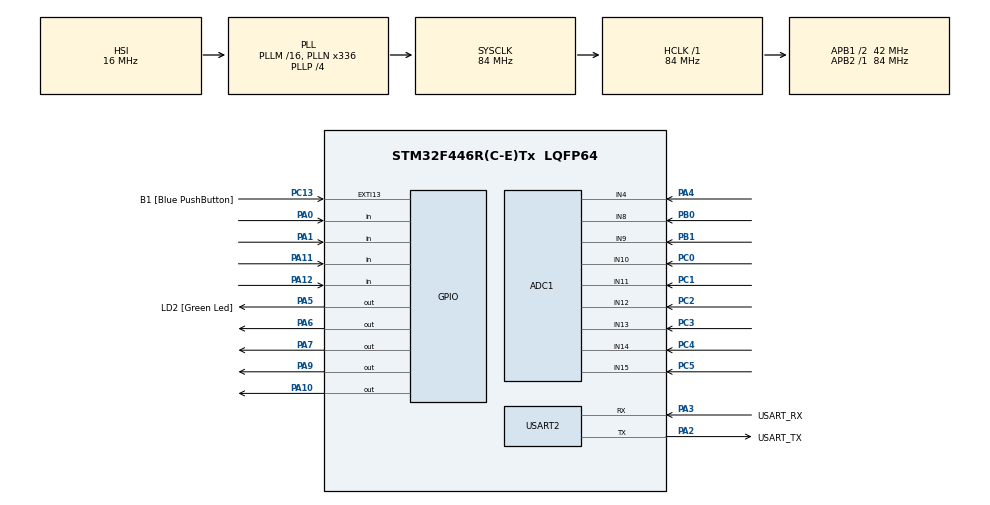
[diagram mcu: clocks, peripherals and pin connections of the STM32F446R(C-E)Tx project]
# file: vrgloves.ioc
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ADC1.Channel-0\#ChannelRegularConversion=ADC_CHANNEL_4
ADC1.Channel-1\#ChannelRegularConversion=ADC_CHANNEL_8
ADC1.Channel-2\#ChannelRegularConversion=ADC_CHANNEL_9
ADC1.Channel-3\#ChannelRegularConversion=ADC_CHANNEL_10
ADC1.Channel-4\#ChannelRegularConversion=ADC_CHANNEL_11
ADC1.Channel-5\#ChannelRegularConversion=ADC_CHANNEL_12
ADC1.Channel-6\#ChannelRegularConversion=ADC_CHANNEL_13
ADC1.Channel-7\#ChannelRegularConversion=ADC_CHANNEL_14
ADC1.Channel-8\#ChannelRegularConversion=ADC_CHANNEL_15
ADC1.ContinuousConvMode=DISABLE
ADC1.NbrOfConversion=9
ADC1.NbrOfConversionFlag=1
ADC1.Rank-0\#ChannelRegularConversion=1
ADC1.Rank-1\#ChannelRegularConversion=2
ADC1.Rank-2\#ChannelRegularConversion=3
ADC1.Rank-3\#ChannelRegularConversion=4
ADC1.Rank-4\#ChannelRegularConversion=5
ADC1.Rank-5\#ChannelRegularConversion=6
ADC1.Rank-6\#ChannelRegularConversion=7
ADC1.Rank-7\#ChannelRegularConversion=8
ADC1.Rank-8\#ChannelRegularConversion=9
ADC1.SamplingTime-0\#ChannelRegularConversion=ADC_SAMPLETIME_480CYCLES
ADC1.SamplingTime-1\#ChannelRegularConversion=ADC_SAMPLETIME_480CYCLES
ADC1.SamplingTime-2\#ChannelRegularConversion=ADC_SAMPLETIME_480CYCLES
ADC1.SamplingTime-3\#ChannelRegularConversion=ADC_SAMPLETIME_480CYCLES
ADC1.SamplingTime-4\#ChannelRegularConversion=ADC_SAMPLETIME_480CYCLES
ADC1.SamplingTime-5\#ChannelRegularConversion=ADC_SAMPLETIME_480CYCLES
ADC1.SamplingTime-6\#ChannelRegularConversion=ADC_SAMPLETIME_480CYCLES
ADC1.SamplingTime-7\#ChannelRegularConversion=ADC_SAMPLETIME_480CYCLES
ADC1.SamplingTime-8\#ChannelRegularConversion=ADC_SAMPLETIME_480CYCLES
ADC1.ScanConvMode=ENABLE
ADC1.master=1
Dma.ADC1.0.Direction=DMA_PERIPH_TO_MEMORY
Dma.ADC1.0.FIFOMode=DMA_FIFOMODE_DISABLE
Dma.ADC1.0.Instance=DMA2_Stream0
Dma.ADC1.0.MemDataAlignment=DMA_MDATAALIGN_HALFWORD
Dma.ADC1.0.MemInc=DMA_MINC_ENABLE
Dma.ADC1.0.Mode=DMA_CIRCULAR
Dma.ADC1.0.PeriphDataAlignment=DMA_PDATAALIGN_HALFWORD
Dma.ADC1.0.PeriphInc=DMA_PINC_DISABLE
Dma.ADC1.0.Priority=DMA_PRIORITY_LOW
Dma.Request0=ADC1
Mcu.Family=STM32F4
Mcu.Name=STM32F446R(C-E)Tx
Mcu.Package=LQFP64
NVIC.ADC_IRQn=true\:0\:0\:false\:false\:true\:true\:true\:true
NVIC.DMA2_Stream0_IRQn=true\:0\:0\:false\:false\:true\:false\:true\:true
NVIC.PriorityGroup=NVIC_PRIORITYGROUP_0
NVIC.TIM6_DAC_IRQn=true\:0\:0\:false\:false\:true\:true\:true\:true
NVIC.USART2_IRQn=true\:0\:0\:false\:false\:true\:true\:true\:true
PA0-WKUP.Signal=GPIO_Input
PA1.Signal=GPIO_Input
PA10.Signal=GPIO_Output
PA11.Signal=GPIO_Input
PA12.Signal=GPIO_Input
PA13.GPIO_Label=TMS
PA13.Mode=Serial_Wire
PA13.Signal=SYS_JTMS-SWDIO
PA14.GPIO_Label=TCK
PA14.Mode=Serial_Wire
PA14.Signal=SYS_JTCK-SWCLK
PA2.GPIO_Label=USART_TX
PA2.Mode=Asynchronous
PA2.Signal=USART2_TX
PA3.GPIO_Label=USART_RX
PA3.Mode=Asynchronous
PA3.Signal=USART2_RX
PA4.Signal=ADCx_IN4
PA5.GPIO_Label=LD2 [Green Led]
PA5.Signal=GPIO_Output
PA6.Signal=GPIO_Output
PA7.Signal=GPIO_Output
PA9.Signal=GPIO_Output
PB0.Signal=ADCx_IN8
PB1.Signal=ADCx_IN9
PB3.GPIO_Label=SWO
PB3.Signal=SYS_JTDO-SWO
PC0.Signal=ADCx_IN10
PC1.Signal=ADCx_IN11
PC13.GPIO_Label=B1 [Blue PushButton]
PC13.GPIO_ModeDefaultEXTI=GPIO_MODE_IT_FALLING
PC13.Signal=GPXTI13
PC14-OSC32_IN.Mode=LSE-External-Oscillator
PC14-OSC32_IN.Signal=RCC_OSC32_IN
PC15-OSC32_OUT.Mode=LSE-External-Oscillator
PC15-OSC32_OUT.Signal=RCC_OSC32_OUT
PC2.Signal=ADCx_IN12
PC3.Signal=ADCx_IN13
PC4.Signal=ADCx_IN14
PC5.Signal=ADCx_IN15
PH0-OSC_IN.Mode=HSE-External-Oscillator
PH0-OSC_IN.Signal=RCC_OSC_IN
PH1-OSC_OUT.Mode=HSE-External-Oscillator
PH1-OSC_OUT.Signal=RCC_OSC_OUT
ProjectManager.HeapSize=0x200
ProjectManager.StackSize=0x400
ProjectManager.TargetToolchain=STM32CubeIDE
RCC.48MHZClocksFreq_Value=84000000
RCC.AHBFreq_Value=84000000
RCC.APB1CLKDivider=RCC_HCLK_DIV2
RCC.APB1Freq_Value=42000000
RCC.APB1TimFreq_Value=84000000
RCC.APB2Freq_Value=84000000
RCC.APB2TimFreq_Value=84000000
RCC.CortexFreq_Value=84000000
RCC.FLatency-AdvancedSettings=FLASH_LATENCY_2
RCC.HCLKFreq_Value=84000000
RCC.HSE_VALUE=8000000
RCC.HSI_VALUE=16000000
RCC.PLLN=336
RCC.PLLP=RCC_PLLP_DIV4
RCC.SYSCLKFreq_VALUE=84000000
RCC.SYSCLKSource=RCC_SYSCLKSOURCE_PLLCLK
RCC.USBFreq_Value=168000000
RCC.VCOOutputFreq_Value=336000000
SH.ADCx_IN10.0=ADC1_IN10,IN10
SH.ADCx_IN11.0=ADC1_IN11,IN11
SH.ADCx_IN12.0=ADC1_IN12,IN12
SH.ADCx_IN13.0=ADC1_IN13,IN13
SH.ADCx_IN14.0=ADC1_IN14,IN14
SH.ADCx_IN15.0=ADC1_IN15,IN15
SH.ADCx_IN4.0=ADC1_IN4,IN4
SH.ADCx_IN8.0=ADC1_IN8,IN8
SH.ADCx_IN9.0=ADC1_IN9,IN9
TIM6.AutoReloadPreload=TIM_AUTORELOAD_PRELOAD_ENABLE
USART2.VirtualMode=VM_ASYNC
VP_TIM6_VS_ClockSourceINT.Mode=Enable_Timer
board=NUCLEO-F446RE

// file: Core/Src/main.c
/* USER CODE BEGIN Header */
/**
  ******************************************************************************
  * @file           : main.c
  * @brief          : Main program body
  ******************************************************************************
  * @attention
  *
  * Copyright (c) 2023 STMicroelectronics.
  * All rights reserved.
  *
  * This software is licensed under terms that can be found in the LICENSE file
  * in the root directory of this software component.
  * If no LICENSE file comes with this software, it is provided AS-IS.
  *
  ******************************************************************************
  */
/* USER CODE END Header */
#include "main.h"

ADC_HandleTypeDef hadc1;
DMA_HandleTypeDef hdma_adc1;

TIM_HandleTypeDef htim6;

UART_HandleTypeDef huart2;

/* USER CODE BEGIN PV */
uint32_t HAL_GetTick(void)
{
  return uwTick;
}
uint32_t millis;
/* USER CODE END PV */

void SystemClock_Config(void);
static void MX_GPIO_Init(void);
static void MX_DMA_Init(void);
static void MX_USART2_UART_Init(void);
static void MX_TIM6_Init(void);
static void MX_ADC1_Init(void);
/* USER CODE BEGIN PFP */
void dis(int val){
  HAL_GPIO_WritePin(GPIOA, GPIO_PIN_9, 2&val);
  HAL_GPIO_WritePin(GPIOA, GPIO_PIN_10, 1&val);
  HAL_GPIO_WritePin(GPIOA, GPIO_PIN_7, 4&val);
  HAL_GPIO_WritePin(GPIOA, GPIO_PIN_6, 8&val);
 }
/* USER CODE END PFP */

/* USER CODE BEGIN 0 */

 // mpu6050 function for getting the accelerometer data
void  mpu6050(uint8_t *o){

	uint8_t g[2]= {0x6b,0};  // address of mpu6050 power management to wake from sleep mode
	uint8_t l[2]= {0x1c,0};  // address for acc sensor config
	uint8_t p=0x3b;          // address for acc sensor data

	// Getting accelerometer data from the mpu6050 *refer i2c.h file for i2c function
	  init3(0x68);
      write(0x68, &l, 2);
      write(0x68, &g, 2);
      write(0x68, &p, 1);
	  read(0x68,o,6);
}

// mpu6050 function for getting gyro data
void mpu6050gyro(uint8_t *o){
	uint8_t g[2]= {0x6b,0};
	uint8_t l[2]= {0x1b,0}; // address for gyro config
	uint8_t p=0x43;   // address for gyro data

	// Getting gyro data from the mpu6050
		  init3(0x68);
		  write(0x68, &l, 2);
		  write(0x68, &g, 2);
	      write(0x68, &p, 1);
          read(0x68,o,6);
}

// Global variables for acc and gyro data
float  pitch;
float roll;
float yaw;
float de1;
float de;
float de2;
float gx;
float gy ;
float gz;

// Converting acc data to degrees
void acc(){
	int16_t  x,y,z; // 16 bit variables note : always use signed variables
	uint8_t j[6];
	mpu6050(&j);  // Getting data from mpu6050

	// Setting the sensitivity of x,y,z values
    x= (int16_t) (j[0]<<8|j[1]);
    gx = x/16384.0;

    y= j[2]<<8|j[3];
    gy = y/16384.0;

    z=j[4]<<8|j[5];
    gz = z/16384.0;

    // converting acc to radian
    pitch = atan2(gy,sqrt((gx*gx)+(gz*gz)));
    roll = atan2 (gx,gz);
    yaw = atan2(gx,gy);

    // converting radian to degree
    de = roll*180/3.14;
    de1  = (pitch-0.0010)*180/3.14;
    de2  = (yaw)*180/3.14;

}

float  gyrox,gyroy,gyroz; // gyro variables

void gyro(){
	  uint8_t s[6];
	  mpu6050gyro(&s);

	  // getting gyro values
	  int16_t gyrox1  = (int16_t) (s[0]<<8| s[1]);
		       gyrox = (gyrox1/131.0);
	  int16_t gyroy1  = (int16_t) (s[2]<<8| s[3]);
		       gyroy = gyroy1/131.0;
	  int16_t gyroz1  = (int16_t) (s[4]<<8| s[5]);
		       gyroz = gyroz1/131.0;
}

float dout [2]; // Output of Kalman filters

                     //       Kalman Filter         //

void kalman(float kalman ,float uncertanity, float angleinput,float measurement ,float elapsed){
	 kalman = kalman +((elapsed/1000)*angleinput);
	 uncertanity = uncertanity + ((elapsed/1000)*((elapsed/1000)*16));
	 float kalmangain = uncertanity/(uncertanity+(9));
	 kalman = kalman + kalmangain*(measurement - kalman);
	 uncertanity = (1-kalmangain)*uncertanity;
	 dout[0] = kalman;
	 dout[1] = uncertanity;
}

char p[1];
/* USER CODE END 0 */

int main(void)
{
  /* USER CODE BEGIN 1 */
	float gyroxangle,gyroyangle,gyrozangle;
	   HAL_Init();
	   SystemClock_Config();
	   MX_GPIO_Init();
	   MX_USART2_UART_Init();
	   MX_TIM6_Init();
//dis(0);

for(int i=0;i<2000;i++){
	gyro();
	gyroxangle = gyroxangle+gyrox;
	gyroyangle = gyroyangle+gyroy;
	gyrozangle = gyrozangle+gyroz;

}

gyroxangle = gyroxangle/2000;
gyroyangle = gyroyangle/2000;
gyrozangle = gyrozangle/2000;

char q[90];
char q1[90];
char q2[90];
char s[6];
int degree1;
int avg;
float k=0.8;
float kck2;

  /* USER CODE END 1 */

  /* MCU Configuration--------------------------------------------------------*/

  /* Reset of all peripherals, Initializes the Flash interface and the Systick. */
  HAL_Init();

  /* USER CODE BEGIN Init */
//int32_t n = HAL_GetTick();
  /* USER CODE END Init */

  /* Configure the system clock */
  SystemClock_Config();

  /* USER CODE BEGIN SysInit */
 uint32_t kck = HAL_GetTickFreq();
  /* USER CODE END SysInit */

  /* Initialize all configured peripherals */
  MX_GPIO_Init();
  MX_DMA_Init();
  MX_USART2_UART_Init();
  MX_TIM6_Init();
  MX_ADC1_Init();
  /* USER CODE BEGIN 2 */
  HAL_InitTick(10);

 /* USER CODE BEGIN Init */
float gx ;
float kalpitch  = 0;
float kalpitch1 = 0;
float kalpitch2 = 0;
float kalroll =0;
float kalyaw = 0;
int  uncertain = 4;
int uncertainroll = 4;
int uncertainyaw = 0;
  /* USER CODE END 2 */

  /* Infinite loop */
  /* USER CODE BEGIN WHILE */
  uint32_t cmp=0;
  float yaw;
  float yawpos;
  float yawneg;
  uint16_t adc[9];
  uint16_t adc1[9];

  // taking 2000 sample  values
  float h[9];

  int high[9];

  float degeer[9];

  for (int i=0;i<2000;i++){

  HAL_ADC_Start_DMA(&hadc1,&adc1, 9);

   high[0] = adc1[0] + high[0];
   high[1] = adc1[1] + high[1];
   high[2] = adc1[2] + high[2];
   high[3] = adc1[3] + high[3];
   high[4] = adc1[4] + high[4];
   high[5] = adc1[5] + high[5];
   high[6] = adc1[6] + high[6];
   high[7] = adc1[7] + high[7];
   high[8] = adc1[8] + high[8];

  h[0] = (adc1[0]/90)+h[0];
  h[1] = (adc1[1]/90)+h[1];
  h[2] = (adc1[2]/90)+h[2];
  h[3] = (adc1[3]/90)+h[3];
  h[4] = (adc1[4]/90)+h[4];
  h[5] = (adc1[5]/90)+h[5];
  h[6] = (adc1[6]/90)+h[6];
  h[7] = (adc1[7]/90)+h[7];
  h[8] = (adc1[8]/90)+h[8];

  }

for(int i=0;i<9;i++){
	high[i] = high[i]/2000;
	h[i] = h[i]/2000;
}

  while (1)
  {

uint32_t n=0;
n = HAL_GetTick();
float elapsed = n- cmp;

float mul[3];
float mulgyro[3];
int prev;
	         for(int i=0;i<1;i++){

if(i==0){

	          	     	     acc();
	          	  	       	 mul[0] = de;
                             mul[1] = de1;
                             mul[2] = de2;

                             gyro();
	          	   	         mulgyro[0] = gyrox-gyroxangle;
	                 	     mulgyro[1] = gyroy-gyroyangle;
	          	             mulgyro[2] = gyroz-gyrozangle;

                  kalman ( kalpitch, uncertain, mulgyro[0], mul[1],elapsed);
                  kalpitch = dout[0];
                  uncertain = dout[1];
                  kalman(kalroll, uncertainroll, mulgyro[1], mul[0], elapsed);
                  kalroll = dout[0];
                  uncertainroll = dout[1];
                  kalman(kalyaw, uncertainyaw, mulgyro[2], mul[2], elapsed);
                  kalyaw = dout[0];
                  uncertainyaw = dout[1];

                 yaw = kalyaw;
                 if (kalyaw >yaw){
                	 yawpos = kalyaw - yaw;
                 }
                 if (kalyaw<yaw){
                	 yawpos = yaw + kalyaw;
                 }

}
	         }

	         HAL_ADC_Start_DMA(&hadc1,&adc1, 9);

	         for (int i=0;i<9;i++){
	         degeer[i] = (adc1[i] - high[i])/h[i];
	         }

//  HAL_GPIO_WritePin(GPIOA, GPIO_PIN_5, 1);
//sprintf(q,"%d\r\n",a);
for (int i=0;i<9;i++){
	  sprintf(q,"%.3f,",degeer[i]);
  	  HAL_UART_Transmit(&huart2, q, strlen(q), 10);
}
  	     //   HAL_UART_Receive(&huart2, p, 1, 10);

  	 if (p[0]=='1'){

  		  HAL_GPIO_WritePin(GPIOA, GPIO_PIN_5, 1);
  		  	   HAL_GPIO_WritePin(GPIOA, GPIO_PIN_6, 0);
  	 }
  	 if (p[0]=='0'){
  	 	 HAL_GPIO_WritePin(GPIOA, GPIO_PIN_5, 0);
  	 	HAL_GPIO_WritePin(GPIOA, GPIO_PIN_6, 0);
  	 }

//p[0] = '0';

	/*
}

    //    sprintf(q,"%.3f\r\n",-kalpitch);

	      //  HAL_UART_Transmit(&huart2, q, strlen(q), 10);
	      //  sprintf(q,"%.3f\r\n",-kalpitch2);

	             HAL_UART_Transmit(&huart2, q, strlen(q), 10);
           HAL_Delay(10);
            cmp = n;

    /* USER CODE END WHILE */

  }
}

void SystemClock_Config(void)
{
  RCC_OscInitTypeDef RCC_OscInitStruct = {0};
  RCC_ClkInitTypeDef RCC_ClkInitStruct = {0};

  /** Configure the main internal regulator output voltage
  */
  __HAL_RCC_PWR_CLK_ENABLE();
  __HAL_PWR_VOLTAGESCALING_CONFIG(PWR_REGULATOR_VOLTAGE_SCALE3);

  /** Initializes the RCC Oscillators according to the specified parameters
  * in the RCC_OscInitTypeDef structure.
  */
  RCC_OscInitStruct.OscillatorType = RCC_OSCILLATORTYPE_HSI;
  RCC_OscInitStruct.HSIState = RCC_HSI_ON;
  RCC_OscInitStruct.HSICalibrationValue = RCC_HSICALIBRATION_DEFAULT;
  RCC_OscInitStruct.PLL.PLLState = RCC_PLL_ON;
  RCC_OscInitStruct.PLL.PLLSource = RCC_PLLSOURCE_HSI;
  RCC_OscInitStruct.PLL.PLLM = 16;
  RCC_OscInitStruct.PLL.PLLN = 336;
  RCC_OscInitStruct.PLL.PLLP = RCC_PLLP_DIV4;
  RCC_OscInitStruct.PLL.PLLQ = 2;
  RCC_OscInitStruct.PLL.PLLR = 2;
  if (HAL_RCC_OscConfig(&RCC_OscInitStruct) != HAL_OK)
  {
    Error_Handler();
  }

  /** Initializes the CPU, AHB and APB buses clocks
  */
  RCC_ClkInitStruct.ClockType = RCC_CLOCKTYPE_HCLK|RCC_CLOCKTYPE_SYSCLK
                              |RCC_CLOCKTYPE_PCLK1|RCC_CLOCKTYPE_PCLK2;
  RCC_ClkInitStruct.SYSCLKSource = RCC_SYSCLKSOURCE_PLLCLK;
  RCC_ClkInitStruct.AHBCLKDivider = RCC_SYSCLK_DIV1;
  RCC_ClkInitStruct.APB1CLKDivider = RCC_HCLK_DIV2;
  RCC_ClkInitStruct.APB2CLKDivider = RCC_HCLK_DIV1;

  if (HAL_RCC_ClockConfig(&RCC_ClkInitStruct, FLASH_LATENCY_2) != HAL_OK)
  {
    Error_Handler();
  }
}

static void MX_ADC1_Init(void)
{

  ADC_ChannelConfTypeDef sConfig = {0};

  /** Configure the global features of the ADC (Clock, Resolution, Data Alignment and number of conversion)
  */
  hadc1.Instance = ADC1;
  hadc1.Init.ClockPrescaler = ADC_CLOCK_SYNC_PCLK_DIV4;
  hadc1.Init.Resolution = ADC_RESOLUTION_12B;
  hadc1.Init.ScanConvMode = ENABLE;
  hadc1.Init.ContinuousConvMode = DISABLE;
  hadc1.Init.DiscontinuousConvMode = DISABLE;
  hadc1.Init.ExternalTrigConvEdge = ADC_EXTERNALTRIGCONVEDGE_NONE;
  hadc1.Init.ExternalTrigConv = ADC_SOFTWARE_START;
  hadc1.Init.DataAlign = ADC_DATAALIGN_RIGHT;
  hadc1.Init.NbrOfConversion = 9;
  hadc1.Init.DMAContinuousRequests = DISABLE;
  hadc1.Init.EOCSelection = ADC_EOC_SINGLE_CONV;
  if (HAL_ADC_Init(&hadc1) != HAL_OK)
  {
    Error_Handler();
  }

  /** Configure for the selected ADC regular channel its corresponding rank in the sequencer and its sample time.
  */
  sConfig.Channel = ADC_CHANNEL_4;
  sConfig.Rank = 1;
  sConfig.SamplingTime = ADC_SAMPLETIME_480CYCLES;
  if (HAL_ADC_ConfigChannel(&hadc1, &sConfig) != HAL_OK)
  {
    Error_Handler();
  }

  /** Configure for the selected ADC regular channel its corresponding rank in the sequencer and its sample time.
  */
  sConfig.Channel = ADC_CHANNEL_8;
  sConfig.Rank = 2;
  if (HAL_ADC_ConfigChannel(&hadc1, &sConfig) != HAL_OK)
  {
    Error_Handler();
  }

  /** Configure for the selected ADC regular channel its corresponding rank in the sequencer and its sample time.
  */
  sConfig.Channel = ADC_CHANNEL_9;
  sConfig.Rank = 3;
  if (HAL_ADC_ConfigChannel(&hadc1, &sConfig) != HAL_OK)
  {
    Error_Handler();
  }

  /** Configure for the selected ADC regular channel its corresponding rank in the sequencer and its sample time.
  */
  sConfig.Channel = ADC_CHANNEL_10;
  sConfig.Rank = 4;
  if (HAL_ADC_ConfigChannel(&hadc1, &sConfig) != HAL_OK)
  {
    Error_Handler();
  }

  /** Configure for the selected ADC regular channel its corresponding rank in the sequencer and its sample time.
  */
  sConfig.Channel = ADC_CHANNEL_11;
  sConfig.Rank = 5;
  if (HAL_ADC_ConfigChannel(&hadc1, &sConfig) != HAL_OK)
  {
    Error_Handler();
  }

  /** Configure for the selected ADC regular channel its corresponding rank in the sequencer and its sample time.
  */
  sConfig.Channel = ADC_CHANNEL_12;
  sConfig.Rank = 6;
  if (HAL_ADC_ConfigChannel(&hadc1, &sConfig) != HAL_OK)
  {
    Error_Handler();
  }

  /** Configure for the selected ADC regular channel its corresponding rank in the sequencer and its sample time.
  */
  sConfig.Channel = ADC_CHANNEL_13;
  sConfig.Rank = 7;
  if (HAL_ADC_ConfigChannel(&hadc1, &sConfig) != HAL_OK)
  {
    Error_Handler();
  }

  /** Configure for the selected ADC regular channel its corresponding rank in the sequencer and its sample time.
  */
  sConfig.Channel = ADC_CHANNEL_14;
  sConfig.Rank = 8;
  if (HAL_ADC_ConfigChannel(&hadc1, &sConfig) != HAL_OK)
  {
    Error_Handler();
  }

  /** Configure for the selected ADC regular channel its corresponding rank in the sequencer and its sample time.
  */
  sConfig.Channel = ADC_CHANNEL_15;
  sConfig.Rank = 9;
  if (HAL_ADC_ConfigChannel(&hadc1, &sConfig) != HAL_OK)
  {
    Error_Handler();
  }

}

static void MX_TIM6_Init(void)
{

  TIM_MasterConfigTypeDef sMasterConfig = {0};

  htim6.Instance = TIM6;
  htim6.Init.Prescaler = 0;
  htim6.Init.CounterMode = TIM_COUNTERMODE_UP;
  htim6.Init.Period = 65535;
  htim6.Init.AutoReloadPreload = TIM_AUTORELOAD_PRELOAD_ENABLE;
  if (HAL_TIM_Base_Init(&htim6) != HAL_OK)
  {
    Error_Handler();
  }
  sMasterConfig.MasterOutputTrigger = TIM_TRGO_RESET;
  sMasterConfig.MasterSlaveMode = TIM_MASTERSLAVEMODE_DISABLE;
  if (HAL_TIMEx_MasterConfigSynchronization(&htim6, &sMasterConfig) != HAL_OK)
  {
    Error_Handler();
  }

}

static void MX_USART2_UART_Init(void)
{

  huart2.Instance = USART2;
  huart2.Init.BaudRate = 9600;
  huart2.Init.WordLength = UART_WORDLENGTH_8B;
  huart2.Init.StopBits = UART_STOPBITS_1;
  huart2.Init.Parity = UART_PARITY_NONE;
  huart2.Init.Mode = UART_MODE_TX_RX;
  huart2.Init.HwFlowCtl = UART_HWCONTROL_NONE;
  huart2.Init.OverSampling = UART_OVERSAMPLING_16;
  if (HAL_UART_Init(&huart2) != HAL_OK)
  {
    Error_Handler();
  }

}

static void MX_DMA_Init(void)
{

  /* DMA controller clock enable */
  __HAL_RCC_DMA2_CLK_ENABLE();

  /* DMA interrupt init */
  /* DMA2_Stream0_IRQn interrupt configuration */
  HAL_NVIC_SetPriority(DMA2_Stream0_IRQn, 0, 0);
  HAL_NVIC_EnableIRQ(DMA2_Stream0_IRQn);

}

static void MX_GPIO_Init(void)
{
  GPIO_InitTypeDef GPIO_InitStruct = {0};

  /* GPIO Ports Clock Enable */
  __HAL_RCC_GPIOC_CLK_ENABLE();
  __HAL_RCC_GPIOH_CLK_ENABLE();
  __HAL_RCC_GPIOA_CLK_ENABLE();
  __HAL_RCC_GPIOB_CLK_ENABLE();

  /*Configure GPIO pin Output Level */
  HAL_GPIO_WritePin(GPIOA, LD2_Pin|GPIO_PIN_6|GPIO_PIN_7|GPIO_PIN_9
                          |GPIO_PIN_10, GPIO_PIN_RESET);

  /*Configure GPIO pin : B1_Pin */
  GPIO_InitStruct.Pin = B1_Pin;
  GPIO_InitStruct.Mode = GPIO_MODE_IT_FALLING;
  GPIO_InitStruct.Pull = GPIO_NOPULL;
  HAL_GPIO_Init(B1_GPIO_Port, &GPIO_InitStruct);

  /*Configure GPIO pins : PA0 PA1 PA11 PA12 */
  GPIO_InitStruct.Pin = GPIO_PIN_0|GPIO_PIN_1|GPIO_PIN_11|GPIO_PIN_12;
  GPIO_InitStruct.Mode = GPIO_MODE_INPUT;
  GPIO_InitStruct.Pull = GPIO_NOPULL;
  HAL_GPIO_Init(GPIOA, &GPIO_InitStruct);

  /*Configure GPIO pins : LD2_Pin PA6 PA7 PA9
                           PA10 */
  GPIO_InitStruct.Pin = LD2_Pin|GPIO_PIN_6|GPIO_PIN_7|GPIO_PIN_9
                          |GPIO_PIN_10;
  GPIO_InitStruct.Mode = GPIO_MODE_OUTPUT_PP;
  GPIO_InitStruct.Pull = GPIO_NOPULL;
  GPIO_InitStruct.Speed = GPIO_SPEED_FREQ_LOW;
  HAL_GPIO_Init(GPIOA, &GPIO_InitStruct);

}

void Error_Handler(void)
{
  __disable_irq();
  while (1)
  {
  }
}
